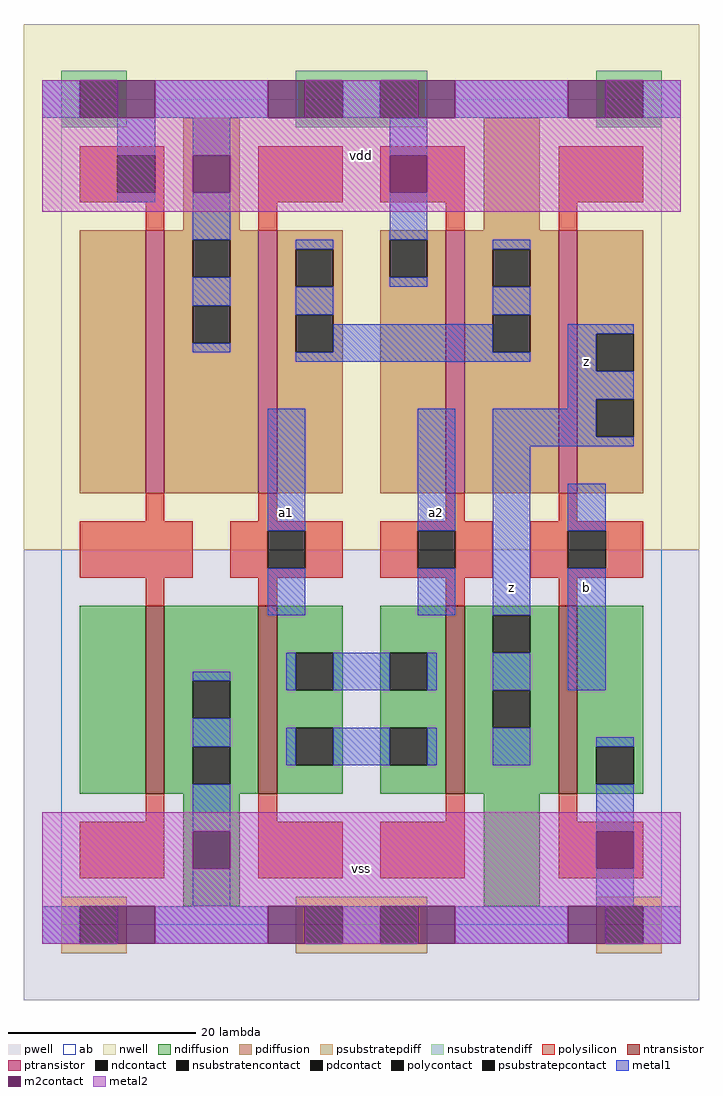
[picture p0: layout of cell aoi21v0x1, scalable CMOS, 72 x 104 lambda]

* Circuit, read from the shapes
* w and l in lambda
.subckt aoi21v0x1 a1 a2 b vdd vss z
M1 vss vdd n1 vss nfet w=20 l=2
M2 n2 a1 vss vss nfet w=20 l=2
M3 z a2 n2 vss nfet w=20 l=2
M4 vss b z vss nfet w=20 l=2
M5 vdd vdd n3 vdd pfet w=28 l=2
M6 n4 a1 vdd vdd pfet w=28 l=2
M7 n4 a2 vdd vdd pfet w=28 l=2
M8 z b n4 vdd pfet w=28 l=2
.ends

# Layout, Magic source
magic
tech scmos
<< ab >>
rect 0 0 64 88
<< pwell >>
rect -4 -8 68 40
<< nwell >>
rect -4 40 68 96
<< polysilicon >>
rect 2 82 11 83
rect 2 78 6 82
rect 10 78 11 82
rect 2 77 11 78
rect 9 74 11 77
rect 21 77 30 83
rect 34 77 43 83
rect 21 74 23 77
rect 41 74 43 77
rect 53 77 62 83
rect 53 74 55 77
rect 9 43 11 46
rect 21 43 23 46
rect 41 43 43 46
rect 53 43 55 46
rect 2 37 14 43
rect 18 42 30 43
rect 18 38 22 42
rect 26 38 30 42
rect 18 37 30 38
rect 34 42 46 43
rect 34 38 38 42
rect 42 38 46 42
rect 34 37 46 38
rect 50 42 62 43
rect 50 38 54 42
rect 58 38 62 42
rect 50 37 62 38
rect 9 34 11 37
rect 21 34 23 37
rect 41 34 43 37
rect 53 34 55 37
rect 9 11 11 14
rect 2 5 11 11
rect 21 11 23 14
rect 41 11 43 14
rect 21 5 30 11
rect 34 5 43 11
rect 53 11 55 14
rect 53 5 62 11
<< ndiffusion >>
rect 2 14 9 34
rect 11 26 21 34
rect 11 22 14 26
rect 18 22 21 26
rect 11 19 21 22
rect 11 15 14 19
rect 18 15 21 19
rect 11 14 21 15
rect 23 29 30 34
rect 23 25 25 29
rect 29 25 30 29
rect 23 21 30 25
rect 23 17 25 21
rect 29 17 30 21
rect 23 14 30 17
rect 34 29 41 34
rect 34 25 35 29
rect 39 25 41 29
rect 34 21 41 25
rect 34 17 35 21
rect 39 17 41 21
rect 34 14 41 17
rect 43 33 53 34
rect 43 29 46 33
rect 50 29 53 33
rect 43 25 53 29
rect 43 21 46 25
rect 50 21 53 25
rect 43 14 53 21
rect 55 19 62 34
rect 55 15 57 19
rect 61 15 62 19
rect 55 14 62 15
rect 13 2 19 14
rect 45 2 51 14
<< pdiffusion >>
rect 13 74 19 86
rect 45 74 51 86
rect 2 46 9 74
rect 11 73 21 74
rect 11 69 14 73
rect 18 69 21 73
rect 11 66 21 69
rect 11 62 14 66
rect 18 62 21 66
rect 11 46 21 62
rect 23 72 30 74
rect 23 68 25 72
rect 29 68 30 72
rect 23 65 30 68
rect 23 61 25 65
rect 29 61 30 65
rect 23 46 30 61
rect 34 73 41 74
rect 34 69 35 73
rect 39 69 41 73
rect 34 46 41 69
rect 43 72 53 74
rect 43 68 46 72
rect 50 68 53 72
rect 43 65 53 68
rect 43 61 46 65
rect 50 61 53 65
rect 43 46 53 61
rect 55 63 62 74
rect 55 59 57 63
rect 61 59 62 63
rect 55 56 62 59
rect 55 52 57 56
rect 61 52 62 56
rect 55 46 62 52
<< metal1 >>
rect -2 86 2 90
rect 10 86 22 90
rect 30 86 34 90
rect 42 86 54 90
rect 62 86 66 90
rect 6 82 10 86
rect 6 77 10 78
rect 14 82 18 86
rect 14 73 18 78
rect 35 82 39 86
rect 35 73 39 78
rect 14 66 18 69
rect 14 61 18 62
rect 25 72 29 73
rect 35 68 39 69
rect 46 72 50 73
rect 25 65 29 68
rect 46 65 50 68
rect 29 61 46 64
rect 25 60 50 61
rect 54 63 61 64
rect 54 59 57 63
rect 54 56 61 59
rect 54 55 57 56
rect 22 42 26 55
rect 22 33 26 38
rect 38 42 42 55
rect 38 33 42 38
rect 46 52 57 55
rect 46 51 61 52
rect 46 33 50 51
rect 14 26 18 27
rect 24 25 25 29
rect 29 25 35 29
rect 39 25 40 29
rect 46 25 50 29
rect 54 42 58 47
rect 54 25 58 38
rect 14 19 18 22
rect 24 17 25 21
rect 29 17 35 21
rect 39 17 40 21
rect 46 17 50 21
rect 57 19 61 20
rect 14 10 18 15
rect 14 2 18 6
rect 57 10 61 15
rect 57 2 61 6
rect -2 -2 2 2
rect 10 -2 22 2
rect 30 -2 34 2
rect 42 -2 54 2
rect 62 -2 66 2
<< metal2 >>
rect -2 86 6 90
rect 10 86 22 90
rect 26 86 38 90
rect 42 86 54 90
rect 58 86 66 90
rect -2 82 66 86
rect -2 78 14 82
rect 18 78 35 82
rect 39 78 66 82
rect -2 76 66 78
rect -2 10 66 12
rect -2 6 14 10
rect 18 6 57 10
rect 61 6 66 10
rect -2 2 66 6
rect -2 -2 6 2
rect 10 -2 22 2
rect 26 -2 38 2
rect 42 -2 54 2
rect 58 -2 66 2
<< ntransistor >>
rect 9 14 11 34
rect 21 14 23 34
rect 41 14 43 34
rect 53 14 55 34
<< ptransistor >>
rect 9 46 11 74
rect 21 46 23 74
rect 41 46 43 74
rect 53 46 55 74
<< polycontact >>
rect 6 78 10 82
rect 22 38 26 42
rect 38 38 42 42
rect 54 38 58 42
<< ndcontact >>
rect 14 22 18 26
rect 14 15 18 19
rect 25 25 29 29
rect 25 17 29 21
rect 35 25 39 29
rect 35 17 39 21
rect 46 29 50 33
rect 46 21 50 25
rect 57 15 61 19
<< pdcontact >>
rect 14 69 18 73
rect 14 62 18 66
rect 25 68 29 72
rect 25 61 29 65
rect 35 69 39 73
rect 46 68 50 72
rect 46 61 50 65
rect 57 59 61 63
rect 57 52 61 56
<< m2contact >>
rect 6 86 10 90
rect 22 86 26 90
rect 38 86 42 90
rect 54 86 58 90
rect 14 78 18 82
rect 35 78 39 82
rect 14 6 18 10
rect 57 6 61 10
rect 6 -2 10 2
rect 22 -2 26 2
rect 38 -2 42 2
rect 54 -2 58 2
<< psubstratepcontact >>
rect 2 -2 6 2
rect 26 -2 30 2
rect 34 -2 38 2
rect 58 -2 62 2
<< nsubstratencontact >>
rect 2 86 6 90
rect 26 86 30 90
rect 34 86 38 90
rect 58 86 62 90
<< psubstratepdiff >>
rect 0 2 7 3
rect 25 2 39 3
rect 57 2 64 3
rect 0 -2 2 2
rect 6 -2 7 2
rect 0 -3 7 -2
rect 25 -2 26 2
rect 30 -2 34 2
rect 38 -2 39 2
rect 25 -3 39 -2
rect 57 -2 58 2
rect 62 -2 64 2
rect 57 -3 64 -2
<< nsubstratendiff >>
rect 0 90 7 91
rect 0 86 2 90
rect 6 86 7 90
rect 25 90 39 91
rect 25 86 26 90
rect 30 86 34 90
rect 38 86 39 90
rect 57 90 64 91
rect 57 86 58 90
rect 62 86 64 90
rect 0 85 7 86
rect 25 85 39 86
rect 57 85 64 86
<< labels >>
rlabel metal1 24 44 24 44 6 a1
rlabel metal1 40 44 40 44 6 a2
rlabel metal1 48 36 48 36 6 z
rlabel metal1 56 36 56 36 6 b
rlabel metal1 56 60 56 60 6 z
rlabel metal2 32 6 32 6 6 vss
rlabel metal2 32 82 32 82 6 vdd
<< end >>
